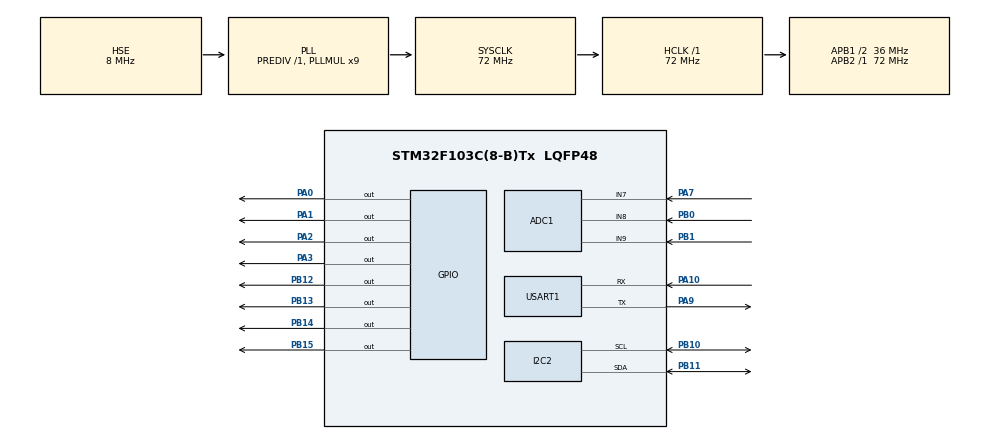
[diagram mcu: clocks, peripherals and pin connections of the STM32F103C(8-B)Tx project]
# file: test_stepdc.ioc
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ADC1.Channel-1\#ChannelRegularConversion=ADC_CHANNEL_7
ADC1.Channel-2\#ChannelRegularConversion=ADC_CHANNEL_8
ADC1.Channel-3\#ChannelRegularConversion=ADC_CHANNEL_9
ADC1.ContinuousConvMode=ENABLE
ADC1.NbrOfConversion=3
ADC1.NbrOfConversionFlag=1
ADC1.Rank-1\#ChannelRegularConversion=1
ADC1.Rank-2\#ChannelRegularConversion=2
ADC1.Rank-3\#ChannelRegularConversion=3
ADC1.SamplingTime-1\#ChannelRegularConversion=ADC_SAMPLETIME_55CYCLES_5
ADC1.SamplingTime-2\#ChannelRegularConversion=ADC_SAMPLETIME_55CYCLES_5
ADC1.SamplingTime-3\#ChannelRegularConversion=ADC_SAMPLETIME_55CYCLES_5
ADC1.master=1
Mcu.Family=STM32F1
Mcu.Name=STM32F103C(8-B)Tx
Mcu.Package=LQFP48
NVIC.PriorityGroup=NVIC_PRIORITYGROUP_4
NVIC.USART1_IRQn=true\:0\:0\:false\:false\:true\:true\:true\:true
PA0-WKUP.Signal=GPIO_Output
PA1.Signal=GPIO_Output
PA10.Mode=Asynchronous
PA10.Signal=USART1_RX
PA13.Mode=Serial_Wire
PA13.Signal=SYS_JTMS-SWDIO
PA14.Mode=Serial_Wire
PA14.Signal=SYS_JTCK-SWCLK
PA2.Signal=GPIO_Output
PA3.Signal=GPIO_Output
PA7.Signal=ADCx_IN7
PA9.Mode=Asynchronous
PA9.Signal=USART1_TX
PB0.Signal=ADCx_IN8
PB1.Signal=ADCx_IN9
PB10.Mode=I2C
PB10.Signal=I2C2_SCL
PB11.Mode=I2C
PB11.Signal=I2C2_SDA
PB12.Signal=GPIO_Output
PB13.Signal=GPIO_Output
PB14.Signal=GPIO_Output
PB15.Signal=GPIO_Output
PD0-OSC_IN.Mode=HSE-External-Oscillator
PD0-OSC_IN.Signal=RCC_OSC_IN
PD1-OSC_OUT.Mode=HSE-External-Oscillator
PD1-OSC_OUT.Signal=RCC_OSC_OUT
ProjectManager.HeapSize=0x200
ProjectManager.StackSize=0x400
ProjectManager.TargetToolchain=STM32CubeIDE
RCC.ADCPresc=RCC_ADCPCLK2_DIV6
RCC.AHBFreq_Value=72000000
RCC.APB1CLKDivider=RCC_HCLK_DIV2
RCC.APB1Freq_Value=36000000
RCC.APB1TimFreq_Value=72000000
RCC.APB2Freq_Value=72000000
RCC.APB2TimFreq_Value=72000000
RCC.HCLKFreq_Value=72000000
RCC.PLLMUL=RCC_PLL_MUL9
RCC.PLLSourceVirtual=RCC_PLLSOURCE_HSE
RCC.SYSCLKFreq_VALUE=72000000
RCC.SYSCLKSource=RCC_SYSCLKSOURCE_PLLCLK
RCC.USBFreq_Value=72000000
SH.ADCx_IN7.0=ADC1_IN7,IN7
SH.ADCx_IN8.0=ADC1_IN8,IN8
SH.ADCx_IN9.0=ADC1_IN9,IN9
TIM1.Period=0xffff-1
TIM1.Prescaler=72-1
USART1.VirtualMode=VM_ASYNC
VP_TIM1_VS_ClockSourceINT.Mode=Internal
board=custom

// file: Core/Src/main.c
/* USER CODE BEGIN Header */
/**
  ******************************************************************************
  * @file           : main.c
  * @brief          : Main program body
  ******************************************************************************
  * @attention
  *
  * Copyright (c) 2023 STMicroelectronics.
  * All rights reserved.
  *
  * This software is licensed under terms that can be found in the LICENSE file
  * in the root directory of this software component.
  * If no LICENSE file comes with this software, it is provided AS-IS.
  *
  ******************************************************************************
  */
/* USER CODE END Header */
#include "main.h"

/* USER CODE BEGIN Includes */
#include "i2c-lcd.h"
#include "delay.h"
#include "stdio.h"
#include "math.h"
#include "string.h"
#include "stdlib.h"
#include "stdbool.h"
#include "ESPDataLogger.h"
/* USER CODE END Includes */

ADC_HandleTypeDef hadc1;

I2C_HandleTypeDef hi2c2;

TIM_HandleTypeDef htim1;

UART_HandleTypeDef huart1;

void SystemClock_Config(void);
static void MX_GPIO_Init(void);
static void MX_TIM1_Init(void);
static void MX_I2C2_Init(void);
static void MX_ADC1_Init(void);
static void MX_USART1_UART_Init(void);

/* USER CODE BEGIN 0 */
#define IN1Port GPIOA             // khai báo chân điều khiển động cơ
#define IN1Pin  GPIO_PIN_0
#define IN2Port GPIOA
#define IN2Pin  GPIO_PIN_1
#define IN3Port GPIOA
#define IN3Pin  GPIO_PIN_2
#define IN4Port GPIOA
#define IN4Pin  GPIO_PIN_3

#define IN5Port GPIOB
#define IN5Pin  GPIO_PIN_12
#define IN6Port GPIOB
#define IN6Pin  GPIO_PIN_13
#define IN7Port GPIOB
#define IN7Pin  GPIO_PIN_14
#define IN8Port GPIOB
#define IN8Pin  GPIO_PIN_15

#define stepsperrev 2048    // số bước quay 1 vòng

void delay(uint16_t us){
	__HAL_TIM_SET_COUNTER(&htim1,0);
	while(__HAL_TIM_GET_COUNTER(&htim1)<us);
}

void SetPin (GPIO_TypeDef* GPIOx, uint16_t GPIO_Pin)
{
	HAL_GPIO_WritePin(GPIOx, GPIO_Pin, GPIO_PIN_SET);
}

void ResetPin (GPIO_TypeDef* GPIOx, uint16_t GPIO_Pin)
{
	HAL_GPIO_WritePin(GPIOx, GPIO_Pin, GPIO_PIN_RESET);
}

void stepper_wave_drive (int step)  // hàm điều khiển động cơ quay theo bước
{
	switch (step){
		case 0:
			  SetPin(IN1Port, IN1Pin);   // IN1 SET
			  ResetPin(IN2Port, IN2Pin);   // IN2 RESET
			  ResetPin(IN3Port, IN3Pin);   // IN3 RESET
			  ResetPin(IN4Port, IN4Pin);   // IN4 RESET
			  break;

		case 1:
			  ResetPin(IN1Port, IN1Pin);   // IN1 RESET
			  SetPin(IN2Port, IN2Pin);   // IN2 SET
			  ResetPin(IN3Port, IN3Pin);   // IN3 RESET
			  ResetPin(IN4Port, IN4Pin);   // IN4 RESET
			  break;

		case 2:
			  ResetPin(IN1Port, IN1Pin);   // IN1 RESET
			  ResetPin(IN2Port, IN2Pin);   // IN2 RESET
			  SetPin(IN3Port, IN3Pin);   // IN3 SET
			  ResetPin(IN4Port, IN4Pin);   // IN4 RESET
			  break;

		case 3:
			  ResetPin(IN1Port, IN1Pin);   // IN1 RESET
			  ResetPin(IN2Port, IN2Pin);   // IN2 RESET
			  ResetPin(IN3Port, IN3Pin);   // IN3 RESET
			  SetPin(IN4Port, IN4Pin);   // IN4 SET

		}
}
void stepper_wave_drive1 (int step)   //hàm điều khiển động cơ quay theo bước
{
	switch (step){
		case 0:
			  SetPin  (IN5Port, IN5Pin);
			  ResetPin(IN6Port, IN6Pin);
			  ResetPin(IN7Port, IN7Pin);
			  ResetPin(IN8Port, IN8Pin);
			  break;

		case 1:
			  ResetPin(IN5Port, IN5Pin);
			  SetPin  (IN6Port, IN6Pin);
			  ResetPin(IN7Port, IN7Pin);
			  ResetPin(IN8Port, IN8Pin);
			  break;

		case 2:
			  ResetPin(IN5Port, IN5Pin);
			  ResetPin(IN6Port, IN6Pin);
			  SetPin  (IN7Port, IN7Pin);
			  ResetPin(IN8Port, IN8Pin);
			  break;

		case 3:
			  ResetPin(IN5Port, IN5Pin);
			  ResetPin(IN6Port, IN6Pin);
			  ResetPin(IN7Port, IN7Pin);
			  SetPin  (IN8Port, IN8Pin);

		}
}
void stepper_set_rpm (int rpm)         // set độ trễ của mỗi bước( hay tốc độ quay của động cơ)
{
	delay(60000000/stepsperrev/rpm);
}

void stepper_step_angle (int angle, int direction, int rpm) // hàm điều khiển động cơ quay theo góc
{
	float anglepersequence = 0.703125;  // 360 = 512 sequences
	int numberofsequences = (int) (angle/anglepersequence);

	for (int seq=0; seq<numberofsequences; seq++)
	{
		if (direction == 0)  // for clockwise
		{
			for (int step=3; step>=0; step--)
			{
				stepper_wave_drive(step);
				stepper_set_rpm(rpm);
			}

		}

		else if (direction == 1)  // for anti-clockwise
		{
			for (int step=0; step<4; step++)
			{
				stepper_wave_drive(step);
				stepper_set_rpm(rpm);
			}
		}
	}
}
void stepper_step_angle1 (int angle, int direction, int rpm) 		// hàm điều khiển động cơ quay theo góc
{
	float anglepersequence = 0.703125;  // 360 = 512 sequences
	int numberofsequences = (int) (angle/anglepersequence);

	for (int seq=0; seq<numberofsequences; seq++)
	{
		if (direction == 0)  // for clockwise
		{
			for (int step=3; step>=0; step--)
			{
				stepper_wave_drive1(step);
				stepper_set_rpm(rpm);
			}

		}

		else if (direction == 1)  // for anti-clockwise
		{
			for (int step=0; step<4; step++)
			{
				stepper_wave_drive1(step);
				stepper_set_rpm(rpm);
			}
		}
	}
}
float currentAngle =0;
float angle;

void Stepper_rotate (int angle, int rpm)          // tính góc động cơ đã quay
{
	int changeinangle = 0;
	changeinangle = angle-currentAngle;
	if (changeinangle > 1)  // clockwise
	{
		stepper_step_angle (changeinangle,0,rpm);
		currentAngle = angle;
	}
	else if (changeinangle <-1)//
	{
		changeinangle = -(changeinangle);
		stepper_step_angle (changeinangle,1,rpm);
		currentAngle = angle;
	}

}

uint16_t adc_ldr7 =0;
float V_ldr7=0;
uint16_t adc_ldr8 =0;
float V_ldr8=0;
uint16_t adc_ldr9 =0;
float V_ldr9=0;
char buff7[16];
char buff8[16];
char buff9[16];
uint8_t rx[15]={0};
uint8_t data[15]="\nhello kien";
uint8_t flag=0;

//void HAL_UART_RxCpltCallback(UART_HandleTypeDef *huart)
//{
//  UNUSED(huart);
//  if(huart->Instance== USART1){
//
//	  HAL_UART_Receive_IT(huart, rx, sizeof(rx));
//  }
//}

/* USER CODE END 0 */

int main(void)
{

  /* MCU Configuration--------------------------------------------------------*/

  /* Reset of all peripherals, Initializes the Flash interface and the Systick. */
  HAL_Init();

  /* Configure the system clock */
  SystemClock_Config();

  /* Initialize all configured peripherals */
  MX_GPIO_Init();
  MX_TIM1_Init();
  MX_I2C2_Init();
  MX_ADC1_Init();
  MX_USART1_UART_Init();
  /* USER CODE BEGIN 2 */
  lcd_init();
 // HAL_UART_Receive_IT(&huart1, rx, sizeof(rx));
  HAL_TIM_Base_Start(&htim1);  // khởi tạo hàm-=timer

  ESP_Init("iPhone","12345678");
  uint32_t time=HAL_GetTick();
  /* USER CODE END 2 */

  /* Infinite loop */
  while (1)
  {

    /* USER CODE BEGIN 3 */
	  //HAL_UART_Transmit(&huart1, data, sizeof(data), 100);

	  HAL_ADC_Start(&hadc1);                   // đọc giá trị ldr
	  HAL_ADC_PollForConversion(&hadc1, 300);
	  adc_ldr7 =HAL_ADC_GetValue(&hadc1);
	  V_ldr7=(float)((adc_ldr7/4095.00)*5);

	   if (HAL_GetTick() - time >= 20000){     // gửi dữ liệu lên cloud sau mỗi 20s

		   ESP_Send_Data("ETVL3RB9PHFN259M", 1, adc_ldr7);
		   time = HAL_GetTick();
	   }
	  HAL_ADC_PollForConversion(&hadc1, 300);
	  adc_ldr8 =HAL_ADC_GetValue(&hadc1);
	  V_ldr8=(float)((adc_ldr8/4095.00)*5);
	  HAL_ADC_PollForConversion(&hadc1, 300);
	  adc_ldr9 =HAL_ADC_GetValue(&hadc1);
	  V_ldr9=(float)((adc_ldr9/4095.00)*5);
	  sprintf(buff7,"adc7_value: %d",adc_ldr7);
   	  sprintf(buff8,"adc8_value: %d",adc_ldr8);
	  sprintf(buff9,"adc9_value: %d",adc_ldr9);
      lcd_put_cur(0, 0);						// hiển thi lcd
	  lcd_send_string(buff7);
	  lcd_put_cur(1, 0);
	  lcd_send_string(buff8);
	  HAL_ADC_Stop(&hadc1);

// điều khiển động cơ
		  if(adc_ldr7 > adc_ldr8 && (adc_ldr7- adc_ldr8)>100){
			  stepper_step_angle(18, 0,13);
		  }
		  else if(adc_ldr8 > adc_ldr7 && (adc_ldr8- adc_ldr7)>100){
			  stepper_step_angle(18, 1, 13);
		  }

		  if(adc_ldr7 > adc_ldr9 && (adc_ldr7- adc_ldr9)>100){
			  stepper_step_angle1(18, 0,13);
		  }
		  else if(adc_ldr9 > adc_ldr7 && (adc_ldr9- adc_ldr7)>100){
		      stepper_step_angle1(18, 1, 13);
		  }

  }

  /* USER CODE END 3 */
}

void SystemClock_Config(void)
{
  RCC_OscInitTypeDef RCC_OscInitStruct = {0};
  RCC_ClkInitTypeDef RCC_ClkInitStruct = {0};
  RCC_PeriphCLKInitTypeDef PeriphClkInit = {0};

  /** Initializes the RCC Oscillators according to the specified parameters
  * in the RCC_OscInitTypeDef structure.
  */
  RCC_OscInitStruct.OscillatorType = RCC_OSCILLATORTYPE_HSE;
  RCC_OscInitStruct.HSEState = RCC_HSE_ON;
  RCC_OscInitStruct.HSEPredivValue = RCC_HSE_PREDIV_DIV1;
  RCC_OscInitStruct.HSIState = RCC_HSI_ON;
  RCC_OscInitStruct.PLL.PLLState = RCC_PLL_ON;
  RCC_OscInitStruct.PLL.PLLSource = RCC_PLLSOURCE_HSE;
  RCC_OscInitStruct.PLL.PLLMUL = RCC_PLL_MUL9;
  if (HAL_RCC_OscConfig(&RCC_OscInitStruct) != HAL_OK)
  {
    Error_Handler();
  }

  /** Initializes the CPU, AHB and APB buses clocks
  */
  RCC_ClkInitStruct.ClockType = RCC_CLOCKTYPE_HCLK|RCC_CLOCKTYPE_SYSCLK
                              |RCC_CLOCKTYPE_PCLK1|RCC_CLOCKTYPE_PCLK2;
  RCC_ClkInitStruct.SYSCLKSource = RCC_SYSCLKSOURCE_PLLCLK;
  RCC_ClkInitStruct.AHBCLKDivider = RCC_SYSCLK_DIV1;
  RCC_ClkInitStruct.APB1CLKDivider = RCC_HCLK_DIV2;
  RCC_ClkInitStruct.APB2CLKDivider = RCC_HCLK_DIV1;

  if (HAL_RCC_ClockConfig(&RCC_ClkInitStruct, FLASH_LATENCY_2) != HAL_OK)
  {
    Error_Handler();
  }
  PeriphClkInit.PeriphClockSelection = RCC_PERIPHCLK_ADC;
  PeriphClkInit.AdcClockSelection = RCC_ADCPCLK2_DIV6;
  if (HAL_RCCEx_PeriphCLKConfig(&PeriphClkInit) != HAL_OK)
  {
    Error_Handler();
  }
}

static void MX_ADC1_Init(void)
{

  ADC_ChannelConfTypeDef sConfig = {0};

  /** Common config
  */
  hadc1.Instance = ADC1;
  hadc1.Init.ScanConvMode = ADC_SCAN_ENABLE;
  hadc1.Init.ContinuousConvMode = ENABLE;
  hadc1.Init.DiscontinuousConvMode = DISABLE;
  hadc1.Init.ExternalTrigConv = ADC_SOFTWARE_START;
  hadc1.Init.DataAlign = ADC_DATAALIGN_RIGHT;
  hadc1.Init.NbrOfConversion = 3;
  if (HAL_ADC_Init(&hadc1) != HAL_OK)
  {
    Error_Handler();
  }

  /** Configure Regular Channel
  */
  sConfig.Channel = ADC_CHANNEL_7;
  sConfig.Rank = ADC_REGULAR_RANK_1;
  sConfig.SamplingTime = ADC_SAMPLETIME_55CYCLES_5;
  if (HAL_ADC_ConfigChannel(&hadc1, &sConfig) != HAL_OK)
  {
    Error_Handler();
  }

  /** Configure Regular Channel
  */
  sConfig.Channel = ADC_CHANNEL_8;
  sConfig.Rank = ADC_REGULAR_RANK_2;
  if (HAL_ADC_ConfigChannel(&hadc1, &sConfig) != HAL_OK)
  {
    Error_Handler();
  }

  /** Configure Regular Channel
  */
  sConfig.Channel = ADC_CHANNEL_9;
  sConfig.Rank = ADC_REGULAR_RANK_3;
  if (HAL_ADC_ConfigChannel(&hadc1, &sConfig) != HAL_OK)
  {
    Error_Handler();
  }

}

static void MX_I2C2_Init(void)
{

  hi2c2.Instance = I2C2;
  hi2c2.Init.ClockSpeed = 100000;
  hi2c2.Init.DutyCycle = I2C_DUTYCYCLE_2;
  hi2c2.Init.OwnAddress1 = 0;
  hi2c2.Init.AddressingMode = I2C_ADDRESSINGMODE_7BIT;
  hi2c2.Init.DualAddressMode = I2C_DUALADDRESS_DISABLE;
  hi2c2.Init.OwnAddress2 = 0;
  hi2c2.Init.GeneralCallMode = I2C_GENERALCALL_DISABLE;
  hi2c2.Init.NoStretchMode = I2C_NOSTRETCH_DISABLE;
  if (HAL_I2C_Init(&hi2c2) != HAL_OK)
  {
    Error_Handler();
  }

}

static void MX_TIM1_Init(void)
{

  TIM_ClockConfigTypeDef sClockSourceConfig = {0};
  TIM_MasterConfigTypeDef sMasterConfig = {0};

  htim1.Instance = TIM1;
  htim1.Init.Prescaler = 72-1;
  htim1.Init.CounterMode = TIM_COUNTERMODE_UP;
  htim1.Init.Period = 0xffff-1;
  htim1.Init.ClockDivision = TIM_CLOCKDIVISION_DIV1;
  htim1.Init.RepetitionCounter = 0;
  htim1.Init.AutoReloadPreload = TIM_AUTORELOAD_PRELOAD_DISABLE;
  if (HAL_TIM_Base_Init(&htim1) != HAL_OK)
  {
    Error_Handler();
  }
  sClockSourceConfig.ClockSource = TIM_CLOCKSOURCE_INTERNAL;
  if (HAL_TIM_ConfigClockSource(&htim1, &sClockSourceConfig) != HAL_OK)
  {
    Error_Handler();
  }
  sMasterConfig.MasterOutputTrigger = TIM_TRGO_RESET;
  sMasterConfig.MasterSlaveMode = TIM_MASTERSLAVEMODE_DISABLE;
  if (HAL_TIMEx_MasterConfigSynchronization(&htim1, &sMasterConfig) != HAL_OK)
  {
    Error_Handler();
  }

}

static void MX_USART1_UART_Init(void)
{

  huart1.Instance = USART1;
  huart1.Init.BaudRate = 115200;
  huart1.Init.WordLength = UART_WORDLENGTH_8B;
  huart1.Init.StopBits = UART_STOPBITS_1;
  huart1.Init.Parity = UART_PARITY_NONE;
  huart1.Init.Mode = UART_MODE_TX_RX;
  huart1.Init.HwFlowCtl = UART_HWCONTROL_NONE;
  huart1.Init.OverSampling = UART_OVERSAMPLING_16;
  if (HAL_UART_Init(&huart1) != HAL_OK)
  {
    Error_Handler();
  }

}

static void MX_GPIO_Init(void)
{
  GPIO_InitTypeDef GPIO_InitStruct = {0};

  /* GPIO Ports Clock Enable */
  __HAL_RCC_GPIOD_CLK_ENABLE();
  __HAL_RCC_GPIOA_CLK_ENABLE();
  __HAL_RCC_GPIOB_CLK_ENABLE();

  /*Configure GPIO pin Output Level */
  HAL_GPIO_WritePin(GPIOA, GPIO_PIN_0|GPIO_PIN_1|GPIO_PIN_2|GPIO_PIN_3, GPIO_PIN_RESET);

  /*Configure GPIO pin Output Level */
  HAL_GPIO_WritePin(GPIOB, GPIO_PIN_12|GPIO_PIN_13|GPIO_PIN_14|GPIO_PIN_15, GPIO_PIN_RESET);

  /*Configure GPIO pins : PA0 PA1 PA2 PA3 */
  GPIO_InitStruct.Pin = GPIO_PIN_0|GPIO_PIN_1|GPIO_PIN_2|GPIO_PIN_3;
  GPIO_InitStruct.Mode = GPIO_MODE_OUTPUT_PP;
  GPIO_InitStruct.Pull = GPIO_NOPULL;
  GPIO_InitStruct.Speed = GPIO_SPEED_FREQ_LOW;
  HAL_GPIO_Init(GPIOA, &GPIO_InitStruct);

  /*Configure GPIO pins : PB12 PB13 PB14 PB15 */
  GPIO_InitStruct.Pin = GPIO_PIN_12|GPIO_PIN_13|GPIO_PIN_14|GPIO_PIN_15;
  GPIO_InitStruct.Mode = GPIO_MODE_OUTPUT_PP;
  GPIO_InitStruct.Pull = GPIO_NOPULL;
  GPIO_InitStruct.Speed = GPIO_SPEED_FREQ_LOW;
  HAL_GPIO_Init(GPIOB, &GPIO_InitStruct);

}

void Error_Handler(void)
{
  __disable_irq();
  while (1)
  {
  }
}
